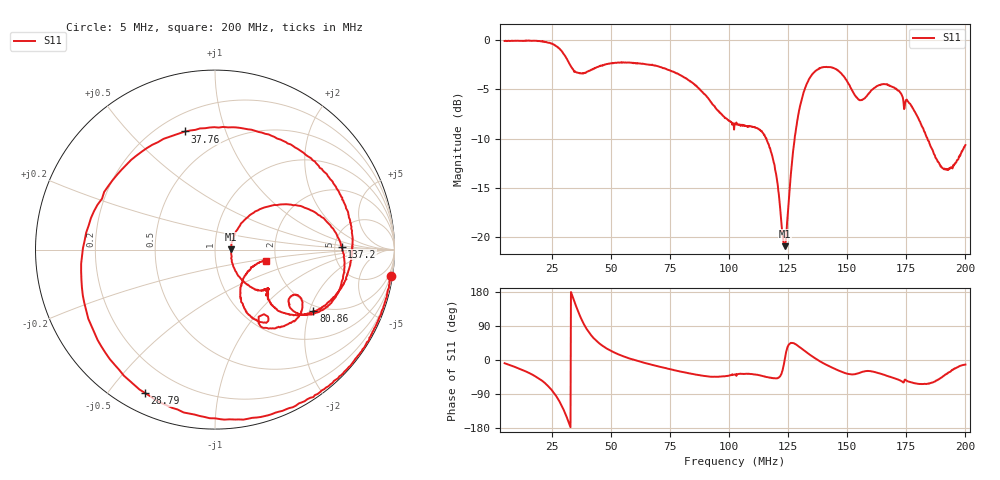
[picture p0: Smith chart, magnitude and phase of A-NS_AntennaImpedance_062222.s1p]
!Keysight Technologies N9917A: A.12.46
!Date: Wednesday, 22 June 2022 17:12:07
!TimeZone: (UTC) Coordinated Universal Time!Model: N9917A
!Serial: MY56071016
!GPS Latitude:
!GPS Longitude:
!GPS TimeStamp: 0001-01-01 00:00:00Z
!GPS Seconds Since Last Read: 0
!CHECKSUM:0536677626
!Correction: S11(ON U)
!S1P File: Measurement: S11:
# Hz S DB R 50
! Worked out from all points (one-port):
!   1001 points, 5 MHz to 200 MHz, reference 50 ohm
!   lowest |S11| = -20.9 dB at 123.6 MHz (marker M1), VSWR 1.20, Z = 59.9 + j0.266 ohm
!   |S11| at or under -10 dB: 115.8 MHz to 127.7 MHz (11.98 MHz wide, 9.84 % of centre); 183.9 MHz to end of sweep
!   S11 on the Smith chart (normalised r, x): 5 MHz: 1, -13; 28.79 MHz: 0.08, -0.62; 37.76 MHz: 0.30, +0.73; 80.86 MHz: 1.80, -2.13; 137.2 MHz: 5.77, +0.39; 200 MHz: 1.78, -0.24
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5000000  -0.09 -8.5
1.4165e7  -0.04 -30.7
1.982e7  -0.09 -50.3
2.528e7  -0.39 -82.0
2.879e7  -1.03 -116.1
2.9375e7  -1.20 -123.4
3.1325e7  -1.89 -151.4
3.308e7  -2.66 179.4
3.5615e7  -3.31 136.3
3.776e7  -3.36 104.3
4.4195e7  -2.74 48.6
5.375e7  -2.30 13.4
7.8125e7  -3.38 -28.9
8.0855e7  -3.78 -32.1
1.025e8  -8.53 -38.3
1.15955e8  -10.18 -45.2
1.1966e8  -13.35 -48.5
1.2356e8  -20.94 1.4
1.26875e8  -11.76 44.7
1.31165e8  -5.61 27.8
1.3721e8  -3.02 1.4
1.454e8  -2.99 -25.3
1.5125e8  -4.76 -37.6
1.57685e8  -5.83 -29.5
1.63925e8  -4.58 -35.7
1.75625e8  -6.21 -56.3
1.90445e8  -13.03 -43.6
2e8  -10.67 -12.1
